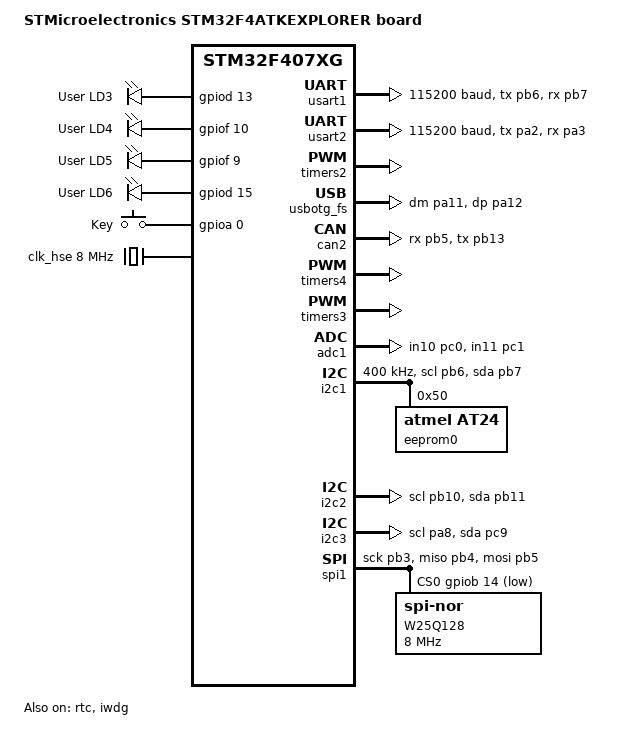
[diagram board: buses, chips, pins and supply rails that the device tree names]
/*
 * Copyright (c) 2017 Linaro Limited
 *
 * SPDX-License-Identifier: Apache-2.0
 */

/dts-v1/;
#include <st/f4/stm32f407Xg.dtsi>
#include <st/f4/stm32f407v(e-g)tx-pinctrl.dtsi>
#include <zephyr/dt-bindings/input/input-event-codes.h>

/ {
	model = "STMicroelectronics STM32F4ATKEXPLORER board";
	compatible = "st,stm32f4atkexplorer";

	chosen {
		zephyr,console = &usart2;
		zephyr,shell-uart = &usart2;
		zephyr,sram = &sram0;
		zephyr,flash = &flash0;
		zephyr,ccm = &ccm0;
		zephyr,canbus = &can2;
	};

	leds {
		compatible = "gpio-leds";
		orange_led_3: led_3 {
			gpios = <&gpiod 13 GPIO_ACTIVE_HIGH>;
			label = "User LD3";
		};
		green_led_4: led_4 {
			gpios = <&gpiof 10 GPIO_ACTIVE_HIGH>;
			label = "User LD4";
		};
		red_led_5: led_5 {
			gpios = <&gpiof 9 GPIO_ACTIVE_HIGH>;
			label = "User LD5";
		};
		blue_led_6: led_6 {
			gpios = <&gpiod 15 GPIO_ACTIVE_HIGH>;
			label = "User LD6";
		};
	};

	gpio_keys {
		compatible = "gpio-keys";
		user_button: button {
			label = "Key";
			gpios = <&gpioa 0 GPIO_ACTIVE_HIGH>;
			zephyr,code = <INPUT_KEY_0>;
		};
	};

	aliases {
		led0 = &green_led_4;
		led1 = &orange_led_3;
		led2 = &red_led_5;
		led3 = &blue_led_6;
		sw0 = &user_button;
		watchdog0 = &iwdg;
	};
};

&usart1 {
	pinctrl-0 = <&usart1_tx_pb6 &usart1_rx_pb7>;
	pinctrl-names = "default";
	current-speed = <115200>;
	status = "okay";
};

&clk_lsi {
	status = "okay";
};

&clk_hse {
	clock-frequency = <DT_FREQ_M(8)>;
	status = "okay";
};

&pll {
	div-m = <8>;
	mul-n = <336>;
	div-p = <2>;
	div-q = <7>;
	clocks = <&clk_hse>;
	status = "okay";
};

&rcc {
	clocks = <&pll>;
	clock-frequency = <DT_FREQ_M(168)>;
	ahb-prescaler = <1>;
	apb1-prescaler = <4>;
	apb2-prescaler = <2>;
};

&usart2 {
	pinctrl-0 = <&usart2_tx_pa2 &usart2_rx_pa3>;
	pinctrl-names = "default";
	current-speed = <115200>;
	status = "okay";
};

&timers2 {
	status = "okay";

	pwm2: pwm {
		status = "okay";
		pinctrl-0 = <&tim2_ch1_pa0>;
		pinctrl-names = "default";
	};
};

&rtc {
	clocks = <&rcc STM32_CLOCK_BUS_APB1 0x10000000>,
		 <&rcc STM32_SRC_LSI RTC_SEL(2)>;
	status = "okay";

	backup_regs {
		status = "okay";
	};
};

zephyr_udc0: &usbotg_fs {
	pinctrl-0 = <&usb_otg_fs_dm_pa11 &usb_otg_fs_dp_pa12>;
	pinctrl-names = "default";
	status = "okay";
};

&can1 {
	pinctrl-0 = <&can1_rx_pb8 &can1_tx_pb9>;
	pinctrl-names = "default";
	status = "disabled";
};

&can2 {
	pinctrl-0 = <&can2_rx_pb5 &can2_tx_pb13>;
	pinctrl-names = "default";
	status = "okay";
};


&timers4 {
	status = "okay";

	pwm4: pwm {
		status = "okay";
		pinctrl-0 = <&tim4_ch3_pb8>;
		pinctrl-names = "default";
	};
};

&timers3 {
	status = "okay";

	pwm3: pwm {
		status = "okay";
		pinctrl-0 = <&tim3_ch3_pb0>;
		pinctrl-names = "default";
	};
};

&adc1 {
	pinctrl-0 = <&adc1_in10_pc0 &adc1_in11_pc1>;
	pinctrl-names = "default";
	st,adc-clock-source = <SYNC>;
	st,adc-prescaler = <4>;		
	status = "okay";
};

&i2c1 {
	pinctrl-0 = <&i2c1_scl_pb6 &i2c1_sda_pb7>;
	pinctrl-names = "default";
	status = "okay";
	clock-frequency = <I2C_BITRATE_FAST>;

	eeprom0: eeprom@50 {
		compatible = "atmel,at24";
		reg = <0x50>;
		status = "okay";
		size = <1024>;
		pagesize = <16>;
		address-width = <8>;
		timeout = <5>;
	};
};

&i2c2 {
	pinctrl-0 = <&i2c2_scl_pb10 &i2c2_sda_pb11>;
	pinctrl-names = "default";
	status = "okay";
};

&i2c3 {
	pinctrl-0 = <&i2c3_scl_pa8 &i2c3_sda_pc9>;
	pinctrl-names = "default";
	status = "okay";
};

&spi1 {
	status = "okay";
	pinctrl-0 = <&spi1_sck_pb3 &spi1_miso_pb4 &spi1_mosi_pb5>;
	pinctrl-names = "default";
	cs-gpios = <&gpiob 14 (GPIO_ACTIVE_LOW | GPIO_PULL_UP)>;

	w25q128: w25q128@0 {
		compatible = "jedec,spi-nor";
		reg = <0>;
		spi-max-frequency = <8000000>;
		label = "W25Q128";
		status = "okay";
		jedec-id = [ef 40 18]; /* Check datasheet */
		size = <134217728>;
	};
};





&iwdg {
	status = "okay";
};

&wwdg {
	status = "disabled";
};




